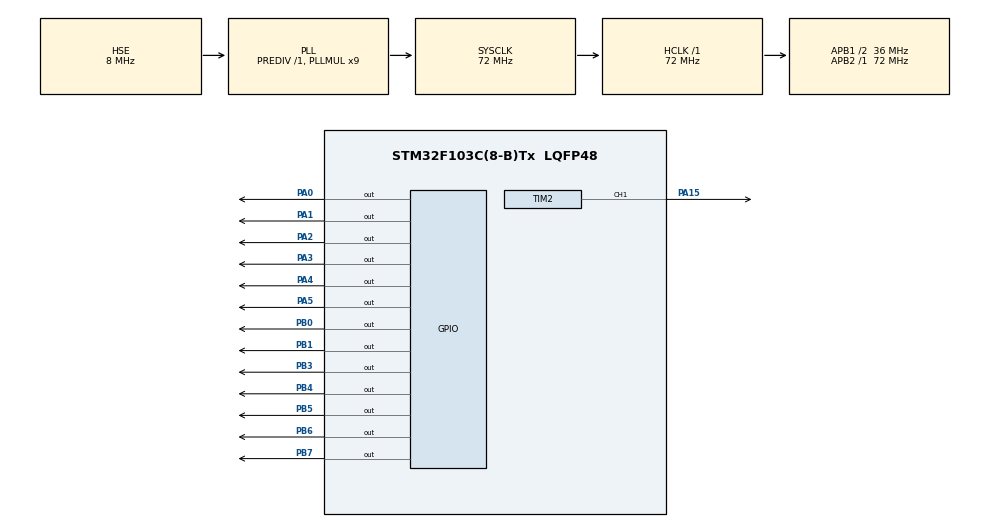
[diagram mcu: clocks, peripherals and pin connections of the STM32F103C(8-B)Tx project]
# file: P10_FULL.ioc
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Mcu.Family=STM32F1
Mcu.Name=STM32F103C(8-B)Tx
Mcu.Package=LQFP48
NVIC.PriorityGroup=NVIC_PRIORITYGROUP_4
NVIC.TIM1_UP_IRQn=true\:0\:0\:false\:false\:true\:true
NVIC.TIM4_IRQn=true\:0\:0\:false\:false\:true\:true
PA0-WKUP.GPIO_Speed=GPIO_SPEED_FREQ_HIGH
PA0-WKUP.PinState=GPIO_PIN_SET
PA0-WKUP.Signal=GPIO_Output
PA1.GPIO_Speed=GPIO_SPEED_FREQ_HIGH
PA1.PinState=GPIO_PIN_SET
PA1.Signal=GPIO_Output
PA13.Mode=Serial_Wire
PA13.Signal=SYS_JTMS-SWDIO
PA14.Mode=Serial_Wire
PA14.Signal=SYS_JTCK-SWCLK
PA15.Signal=S_TIM2_CH1_ETR
PA2.GPIO_Speed=GPIO_SPEED_FREQ_HIGH
PA2.PinState=GPIO_PIN_SET
PA2.Signal=GPIO_Output
PA3.GPIO_Speed=GPIO_SPEED_FREQ_HIGH
PA3.PinState=GPIO_PIN_SET
PA3.Signal=GPIO_Output
PA4.GPIO_Speed=GPIO_SPEED_FREQ_HIGH
PA4.PinState=GPIO_PIN_SET
PA4.Signal=GPIO_Output
PA5.GPIO_Speed=GPIO_SPEED_FREQ_HIGH
PA5.PinState=GPIO_PIN_SET
PA5.Signal=GPIO_Output
PB0.GPIO_Speed=GPIO_SPEED_FREQ_HIGH
PB0.PinState=GPIO_PIN_SET
PB0.Signal=GPIO_Output
PB1.GPIO_Speed=GPIO_SPEED_FREQ_HIGH
PB1.PinState=GPIO_PIN_SET
PB1.Signal=GPIO_Output
PB3.GPIO_Speed=GPIO_SPEED_FREQ_HIGH
PB3.PinState=GPIO_PIN_SET
PB3.Signal=GPIO_Output
PB4.GPIO_Speed=GPIO_SPEED_FREQ_HIGH
PB4.PinState=GPIO_PIN_SET
PB4.Signal=GPIO_Output
PB5.GPIO_Speed=GPIO_SPEED_FREQ_HIGH
PB5.PinState=GPIO_PIN_SET
PB5.Signal=GPIO_Output
PB6.GPIO_Speed=GPIO_SPEED_FREQ_HIGH
PB6.PinState=GPIO_PIN_SET
PB6.Signal=GPIO_Output
PB7.GPIO_Speed=GPIO_SPEED_FREQ_HIGH
PB7.PinState=GPIO_PIN_SET
PB7.Signal=GPIO_Output
PD0-OSC_IN.Mode=HSE-External-Oscillator
PD0-OSC_IN.Signal=RCC_OSC_IN
PD1-OSC_OUT.Mode=HSE-External-Oscillator
PD1-OSC_OUT.Signal=RCC_OSC_OUT
ProjectManager.HeapSize=0x200
ProjectManager.StackSize=0x400
ProjectManager.TargetToolchain=MDK-ARM V5
RCC.AHBFreq_Value=72000000
RCC.APB1CLKDivider=RCC_HCLK_DIV2
RCC.APB1Freq_Value=36000000
RCC.APB1TimFreq_Value=72000000
RCC.APB2Freq_Value=72000000
RCC.APB2TimFreq_Value=72000000
RCC.HCLKFreq_Value=72000000
RCC.PLLMUL=RCC_PLL_MUL9
RCC.PLLSourceVirtual=RCC_PLLSOURCE_HSE
RCC.SYSCLKFreq_VALUE=72000000
RCC.SYSCLKSource=RCC_SYSCLKSOURCE_PLLCLK
RCC.USBFreq_Value=72000000
RTC.Date=6
RTC.Format=RTC_FORMAT_BIN
RTC.Hours=8
RTC.Month=RTC_MONTH_APRIL
RTC.OutPut=RTC_OUTPUTSOURCE_CALIBCLOCK
RTC.WeekDay=RTC_WEEKDAY_THURSDAY
RTC.Year=20
SH.S_TIM2_CH1_ETR.0=TIM2_CH1,PWM Generation1 CH1
TIM1.CounterMode=TIM_COUNTERMODE_DOWN
TIM1.Period=40
TIM1.Prescaler=5
TIM2.Channel-PWM\ Generation1\ CH1=TIM_CHANNEL_1
TIM2.Period=100
TIM4.Period=72
VP_RTC_VS_RTC_Activate.Mode=RTC_Enabled
VP_RTC_VS_RTC_Calendar.Mode=RTC_Calendar
VP_TIM1_VS_ClockSourceINT.Mode=Internal
VP_TIM2_VS_ClockSourceINT.Mode=Internal
VP_TIM4_VS_ClockSourceITR.Mode=TriggerSource_ITR0
board=custom

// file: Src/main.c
/* USER CODE BEGIN Header */
/**
  ******************************************************************************
  * @file           : main.c
  * @brief          : Main program body
  ******************************************************************************
  ** This notice applies to any and all portions of this file
  * that are not between comment pairs USER CODE BEGIN and
  * USER CODE END. Other portions of this file, whether
  * inserted by the user or by software development tools
  * are owned by their respective copyright owners.
  *
  * COPYRIGHT(c) 2020 STMicroelectronics
  *
  * Redistribution and use in source and binary forms, with or without modification,
  * are permitted provided that the following conditions are met:
  *   1. Redistributions of source code must retain the above copyright notice,
  *      this list of conditions and the following disclaimer.
  *   2. Redistributions in binary form must reproduce the above copyright notice,
  *      this list of conditions and the following disclaimer in the documentation
  *      and/or other materials provided with the distribution.
  *   3. Neither the name of STMicroelectronics nor the names of its contributors
  *      may be used to endorse or promote products derived from this software
  *      without specific prior written permission.
  *
  * THIS SOFTWARE IS PROVIDED BY THE COPYRIGHT HOLDERS AND CONTRIBUTORS "AS IS"
  * AND ANY EXPRESS OR IMPLIED WARRANTIES, INCLUDING, BUT NOT LIMITED TO, THE
  * IMPLIED WARRANTIES OF MERCHANTABILITY AND FITNESS FOR A PARTICULAR PURPOSE ARE
  * DISCLAIMED. IN NO EVENT SHALL THE COPYRIGHT HOLDER OR CONTRIBUTORS BE LIABLE
  * FOR ANY DIRECT, INDIRECT, INCIDENTAL, SPECIAL, EXEMPLARY, OR CONSEQUENTIAL
  * DAMAGES (INCLUDING, BUT NOT LIMITED TO, PROCUREMENT OF SUBSTITUTE GOODS OR
  * SERVICES; LOSS OF USE, DATA, OR PROFITS; OR BUSINESS INTERRUPTION) HOWEVER
  * CAUSED AND ON ANY THEORY OF LIABILITY, WHETHER IN CONTRACT, STRICT LIABILITY,
  * OR TORT (INCLUDING NEGLIGENCE OR OTHERWISE) ARISING IN ANY WAY OUT OF THE USE
  * OF THIS SOFTWARE, EVEN IF ADVISED OF THE POSSIBILITY OF SUCH DAMAGE.
  *
  ******************************************************************************
  */
/* USER CODE END Header */

#include "main.h"

/* USER CODE BEGIN Includes */
#include "p10_fullmau.h"
#include "mario.h"

/* USER CODE END Includes */

RTC_HandleTypeDef hrtc;

TIM_HandleTypeDef htim1;
TIM_HandleTypeDef htim2;
TIM_HandleTypeDef htim4;

void SystemClock_Config(void);
static void MX_GPIO_Init(void);
static void MX_TIM1_Init(void);
static void MX_TIM2_Init(void);
static void MX_TIM4_Init(void);
static void MX_RTC_Init(void);

/* USER CODE BEGIN 0 */

unsigned char h1=127,h11=0,h2=127,h21=0,h3=60,h31=0,ran=0;
unsigned char a[11]={0};

void firework(){

		MATRIX_circle1(15,15,h31,0,255,255,255);
	  MATRIX_circle1(15,15,h31-10,0,255,255,255);
  	MATRIX_circle1(15,15,h31-20,0,255,255,255);
		h31++;
		if(h31>30){
				h3=15;
				h31=0;
		}
}

/* USER CODE END 0 */

int main(void)
{

  /* MCU Configuration--------------------------------------------------------*/

  /* Reset of all peripherals, Initializes the Flash interface and the Systick. */
  HAL_Init();

  /* Configure the system clock */
  SystemClock_Config();

  /* Initialize all configured peripherals */
  MX_GPIO_Init();
  MX_TIM1_Init();
  MX_TIM2_Init();
  MX_TIM4_Init();
  MX_RTC_Init();
  /* USER CODE BEGIN 2 */
	HAL_TIM_Base_Start_IT(&htim1);
	//HAL_TIM_Base_Start_IT(&htim4);

	HAL_TIM_Base_Start(&htim2);
	HAL_TIM_PWM_Start(&htim2,TIM_CHANNEL_1);
	__HAL_TIM_SET_COMPARE(&htim2,TIM_CHANNEL_1,40);

	initial_clock();

  /* USER CODE END 2 */

  /* Infinite loop */
  while (1)
  {

    /* USER CODE BEGIN 3 */

  //  MATRIX_putStr8x8(15,chay,"Duc",255,255,255);
	//	drawImage(0,0,64,32,(uint16_t *)mario);
	//	drawImage(0,0,64,32,(uint16_t *)banana_frame_1);
	/*	chay++;
		if(chay==50) chay=0;
		P10_DislayNumBIG(0,32,chay);
	//	latsoto(chay,0,0,10);
	//	latsonho(chay,16,0,10);
	//	P10_DislayNumSMALL(0,0,chay);
	//	P10_sendRec();

	/*	P10_sendRec(0,0,0);
		P10_sendRec(0,6,1);
		P10_sendRec(0,12,2);
		P10_sendRec(0,18,3);*/

			HAL_RTC_GetTime(&hrtc,&sTime,RTC_FORMAT_BIN);
			HAL_RTC_GetDate(&hrtc,&sDate,RTC_FORMAT_BIN);
			hour=sTime.Hours;
			minute=sTime.Minutes;
			second=sTime.Seconds;
			day=sDate.Date;
			month=sDate.Month;
			year=sDate.Year;
			DongHoBig(14,5);
			amlich_ht(-2,4);
		 // firework();
			giaimap10fullmau();
	  	//matrix_p10fullmau_clear_all();

		/* for(int ___i=0;___i<64;___i++)
		 {
				if(___i<16 && hang==0) GPIOB->ODR = 0x01;
			  else  GPIOB->ODR = 0x00;
				GPIOB->ODR |= 0x0080;
		 }
		 GPIOA -> ODR |= (1<<5);
		 GPIOA -> ODR = hang;
		 hang++;
		 if(hang==4) hang=0;*/

  }
  /* USER CODE END 3 */
}

void SystemClock_Config(void)
{
  RCC_OscInitTypeDef RCC_OscInitStruct = {0};
  RCC_ClkInitTypeDef RCC_ClkInitStruct = {0};
  RCC_PeriphCLKInitTypeDef PeriphClkInit = {0};

  /**Initializes the CPU, AHB and APB busses clocks
  */
  RCC_OscInitStruct.OscillatorType = RCC_OSCILLATORTYPE_LSI|RCC_OSCILLATORTYPE_HSE;
  RCC_OscInitStruct.HSEState = RCC_HSE_ON;
  RCC_OscInitStruct.HSEPredivValue = RCC_HSE_PREDIV_DIV1;
  RCC_OscInitStruct.HSIState = RCC_HSI_ON;
  RCC_OscInitStruct.LSIState = RCC_LSI_ON;
  RCC_OscInitStruct.PLL.PLLState = RCC_PLL_ON;
  RCC_OscInitStruct.PLL.PLLSource = RCC_PLLSOURCE_HSE;
  RCC_OscInitStruct.PLL.PLLMUL = RCC_PLL_MUL9;
  if (HAL_RCC_OscConfig(&RCC_OscInitStruct) != HAL_OK)
  {
    Error_Handler();
  }
  /**Initializes the CPU, AHB and APB busses clocks
  */
  RCC_ClkInitStruct.ClockType = RCC_CLOCKTYPE_HCLK|RCC_CLOCKTYPE_SYSCLK
                              |RCC_CLOCKTYPE_PCLK1|RCC_CLOCKTYPE_PCLK2;
  RCC_ClkInitStruct.SYSCLKSource = RCC_SYSCLKSOURCE_PLLCLK;
  RCC_ClkInitStruct.AHBCLKDivider = RCC_SYSCLK_DIV1;
  RCC_ClkInitStruct.APB1CLKDivider = RCC_HCLK_DIV2;
  RCC_ClkInitStruct.APB2CLKDivider = RCC_HCLK_DIV1;

  if (HAL_RCC_ClockConfig(&RCC_ClkInitStruct, FLASH_LATENCY_2) != HAL_OK)
  {
    Error_Handler();
  }
  PeriphClkInit.PeriphClockSelection = RCC_PERIPHCLK_RTC;
  PeriphClkInit.RTCClockSelection = RCC_RTCCLKSOURCE_LSI;
  if (HAL_RCCEx_PeriphCLKConfig(&PeriphClkInit) != HAL_OK)
  {
    Error_Handler();
  }
}

static void MX_RTC_Init(void)
{

  RTC_TimeTypeDef sTime = {0};
  RTC_DateTypeDef DateToUpdate = {0};

  /**Initialize RTC Only
  */
  hrtc.Instance = RTC;
  hrtc.Init.AsynchPrediv = RTC_AUTO_1_SECOND;
  hrtc.Init.OutPut = RTC_OUTPUTSOURCE_CALIBCLOCK;
  if (HAL_RTC_Init(&hrtc) != HAL_OK)
  {
    Error_Handler();
  }

  /**Initialize RTC and set the Time and Date
  */
  sTime.Hours = 8;
  sTime.Minutes = 0;
  sTime.Seconds = 0;

  if (HAL_RTC_SetTime(&hrtc, &sTime, RTC_FORMAT_BIN) != HAL_OK)
  {
    Error_Handler();
  }
  DateToUpdate.WeekDay = RTC_WEEKDAY_THURSDAY;
  DateToUpdate.Month = RTC_MONTH_APRIL;
  DateToUpdate.Date = 6;
  DateToUpdate.Year = 20;

  if (HAL_RTC_SetDate(&hrtc, &DateToUpdate, RTC_FORMAT_BIN) != HAL_OK)
  {
    Error_Handler();
  }

}

static void MX_TIM1_Init(void)
{

  TIM_ClockConfigTypeDef sClockSourceConfig = {0};
  TIM_MasterConfigTypeDef sMasterConfig = {0};

  htim1.Instance = TIM1;
  htim1.Init.Prescaler = 5;
  htim1.Init.CounterMode = TIM_COUNTERMODE_DOWN;
  htim1.Init.Period = 40;
  htim1.Init.ClockDivision = TIM_CLOCKDIVISION_DIV1;
  htim1.Init.RepetitionCounter = 0;
  htim1.Init.AutoReloadPreload = TIM_AUTORELOAD_PRELOAD_DISABLE;
  if (HAL_TIM_Base_Init(&htim1) != HAL_OK)
  {
    Error_Handler();
  }
  sClockSourceConfig.ClockSource = TIM_CLOCKSOURCE_INTERNAL;
  if (HAL_TIM_ConfigClockSource(&htim1, &sClockSourceConfig) != HAL_OK)
  {
    Error_Handler();
  }
  sMasterConfig.MasterOutputTrigger = TIM_TRGO_RESET;
  sMasterConfig.MasterSlaveMode = TIM_MASTERSLAVEMODE_DISABLE;
  if (HAL_TIMEx_MasterConfigSynchronization(&htim1, &sMasterConfig) != HAL_OK)
  {
    Error_Handler();
  }

}

static void MX_TIM2_Init(void)
{

  TIM_ClockConfigTypeDef sClockSourceConfig = {0};
  TIM_MasterConfigTypeDef sMasterConfig = {0};
  TIM_OC_InitTypeDef sConfigOC = {0};

  htim2.Instance = TIM2;
  htim2.Init.Prescaler = 0;
  htim2.Init.CounterMode = TIM_COUNTERMODE_UP;
  htim2.Init.Period = 100;
  htim2.Init.ClockDivision = TIM_CLOCKDIVISION_DIV1;
  htim2.Init.AutoReloadPreload = TIM_AUTORELOAD_PRELOAD_DISABLE;
  if (HAL_TIM_Base_Init(&htim2) != HAL_OK)
  {
    Error_Handler();
  }
  sClockSourceConfig.ClockSource = TIM_CLOCKSOURCE_INTERNAL;
  if (HAL_TIM_ConfigClockSource(&htim2, &sClockSourceConfig) != HAL_OK)
  {
    Error_Handler();
  }
  if (HAL_TIM_PWM_Init(&htim2) != HAL_OK)
  {
    Error_Handler();
  }
  sMasterConfig.MasterOutputTrigger = TIM_TRGO_RESET;
  sMasterConfig.MasterSlaveMode = TIM_MASTERSLAVEMODE_DISABLE;
  if (HAL_TIMEx_MasterConfigSynchronization(&htim2, &sMasterConfig) != HAL_OK)
  {
    Error_Handler();
  }
  sConfigOC.OCMode = TIM_OCMODE_PWM1;
  sConfigOC.Pulse = 0;
  sConfigOC.OCPolarity = TIM_OCPOLARITY_HIGH;
  sConfigOC.OCFastMode = TIM_OCFAST_DISABLE;
  if (HAL_TIM_PWM_ConfigChannel(&htim2, &sConfigOC, TIM_CHANNEL_1) != HAL_OK)
  {
    Error_Handler();
  }
  HAL_TIM_MspPostInit(&htim2);

}

static void MX_TIM4_Init(void)
{

  TIM_SlaveConfigTypeDef sSlaveConfig = {0};
  TIM_MasterConfigTypeDef sMasterConfig = {0};

  htim4.Instance = TIM4;
  htim4.Init.Prescaler = 0;
  htim4.Init.CounterMode = TIM_COUNTERMODE_UP;
  htim4.Init.Period = 72;
  htim4.Init.ClockDivision = TIM_CLOCKDIVISION_DIV1;
  htim4.Init.AutoReloadPreload = TIM_AUTORELOAD_PRELOAD_DISABLE;
  if (HAL_TIM_Base_Init(&htim4) != HAL_OK)
  {
    Error_Handler();
  }
  sSlaveConfig.SlaveMode = TIM_SLAVEMODE_DISABLE;
  sSlaveConfig.InputTrigger = TIM_TS_ITR0;
  if (HAL_TIM_SlaveConfigSynchronization(&htim4, &sSlaveConfig) != HAL_OK)
  {
    Error_Handler();
  }
  sMasterConfig.MasterOutputTrigger = TIM_TRGO_RESET;
  sMasterConfig.MasterSlaveMode = TIM_MASTERSLAVEMODE_DISABLE;
  if (HAL_TIMEx_MasterConfigSynchronization(&htim4, &sMasterConfig) != HAL_OK)
  {
    Error_Handler();
  }

}

static void MX_GPIO_Init(void)
{
  GPIO_InitTypeDef GPIO_InitStruct = {0};

  /* GPIO Ports Clock Enable */
  __HAL_RCC_GPIOD_CLK_ENABLE();
  __HAL_RCC_GPIOA_CLK_ENABLE();
  __HAL_RCC_GPIOB_CLK_ENABLE();

  /*Configure GPIO pin Output Level */
  HAL_GPIO_WritePin(GPIOA, GPIO_PIN_0|GPIO_PIN_1|GPIO_PIN_2|GPIO_PIN_3
                          |GPIO_PIN_4|GPIO_PIN_5, GPIO_PIN_SET);

  /*Configure GPIO pin Output Level */
  HAL_GPIO_WritePin(GPIOB, GPIO_PIN_0|GPIO_PIN_1|GPIO_PIN_3|GPIO_PIN_4
                          |GPIO_PIN_5|GPIO_PIN_6|GPIO_PIN_7, GPIO_PIN_SET);

  /*Configure GPIO pins : PA0 PA1 PA2 PA3
                           PA4 PA5 */
  GPIO_InitStruct.Pin = GPIO_PIN_0|GPIO_PIN_1|GPIO_PIN_2|GPIO_PIN_3
                          |GPIO_PIN_4|GPIO_PIN_5;
  GPIO_InitStruct.Mode = GPIO_MODE_OUTPUT_PP;
  GPIO_InitStruct.Pull = GPIO_NOPULL;
  GPIO_InitStruct.Speed = GPIO_SPEED_FREQ_HIGH;
  HAL_GPIO_Init(GPIOA, &GPIO_InitStruct);

  /*Configure GPIO pins : PB0 PB1 PB3 PB4
                           PB5 PB6 PB7 */
  GPIO_InitStruct.Pin = GPIO_PIN_0|GPIO_PIN_1|GPIO_PIN_3|GPIO_PIN_4
                          |GPIO_PIN_5|GPIO_PIN_6|GPIO_PIN_7;
  GPIO_InitStruct.Mode = GPIO_MODE_OUTPUT_PP;
  GPIO_InitStruct.Pull = GPIO_NOPULL;
  GPIO_InitStruct.Speed = GPIO_SPEED_FREQ_HIGH;
  HAL_GPIO_Init(GPIOB, &GPIO_InitStruct);

}

void Error_Handler(void)
{
}

/************************ (C) COPYRIGHT STMicroelectronics *****END OF FILE****/
